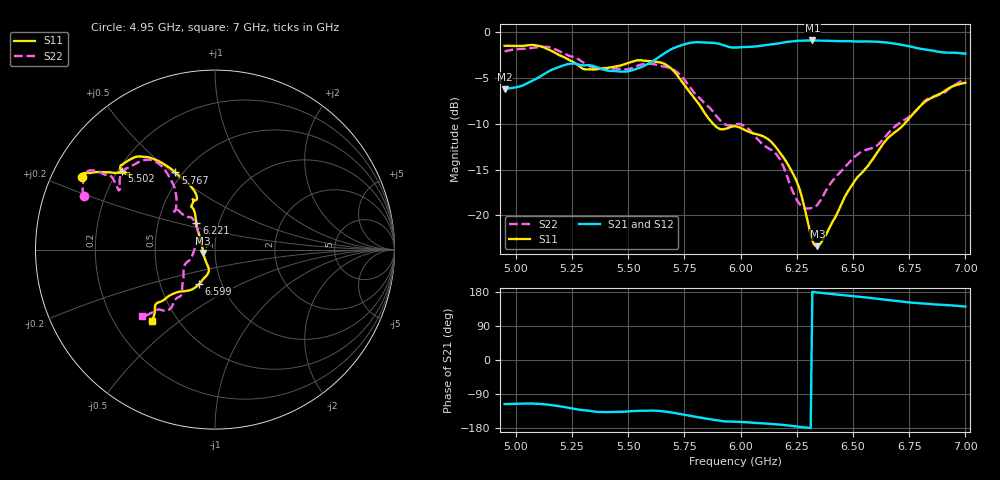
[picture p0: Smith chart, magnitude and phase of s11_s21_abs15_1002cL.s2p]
! MS46122B
! 1919307/90821646
! 5/25/2022 12:18:13 PM
! C:\USERS\PC_\DESKTOP\CARACTERIZACION\MEDICIONES\S11_S21_ABS15_1002CL.S2P
! CHANNEL.1
! TR.MEASUREMENT
! CORRECTED.DATA
# GHZ S RI R 50.0
! FREQ.GHZ  S11RE  S11IM  S21RE  S21IM  S12RE  S12IM  S22RE  S22IM
!; PortSelection: Port_12
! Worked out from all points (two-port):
!   272 points, 4.95 GHz to 7 GHz, reference 50 ohm
!   highest |S21| = -0.89 dB at 6.319 GHz (marker M1); lowest = -6.2 dB at 4.95 GHz (marker M2)
!   |S21| within 3 dB of the highest: 5.181 GHz to 5.37 GHz (188.6 MHz wide, 3.57 % of centre); 5.548 GHz to end of sweep
!   lowest |S11| = -23.4 dB at 6.342 GHz (marker M3), VSWR 1.15, Z = 43.8 - j1.63 ohm
!   |S11| at or under -10 dB: 5.878 GHz to 6.729 GHz (851.2 MHz wide, 13.5 % of centre)
!   |S22| runs from -19.2 to -1.6 dB; largest |S21 - S12| = 0.0098
!   S11 on the Smith chart (normalised r, x): 4.95 GHz: 0.09, +0.25; 5.502 GHz: 0.21, +0.35; 5.767 GHz: 0.46, +0.51; 6.221 GHz: 0.78, +0.24; 6.599 GHz: 0.78, -0.32; 7 GHz: 0.36, -0.40
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4.95  -0.7398 0.4047  -0.2155 -0.4377  -0.2166 -0.4434  -0.7283 0.2989
5.108856  -0.7229 0.4268  -0.2515 -0.5164  -0.2532 -0.5148  -0.7257 0.4044
5.21476  -0.5905 0.4313  -0.3697 -0.5492  -0.3618 -0.5434  -0.6345 0.4285
5.29797  -0.4791 0.4118  -0.4425 -0.4893  -0.4338 -0.4917  -0.5649 0.3892
5.366052  -0.4717 0.4173  -0.4688 -0.4377  -0.4638 -0.4431  -0.5373 0.3304
5.502214  -0.5207 0.4389  -0.4364 -0.4301  -0.4381 -0.4317  -0.529 0.3411
5.638376  -0.4588 0.5096  -0.5154 -0.5254  -0.5172 -0.5222  -0.4641 0.4669
5.706458  -0.338 0.5034  -0.6299 -0.5309  -0.6262 -0.5274  -0.3646 0.5006
5.766974  -0.2207 0.4301  -0.7246 -0.4832  -0.7178 -0.4833  -0.2745 0.4372
5.888007  -0.1005 0.2901  -0.8134 -0.3178  -0.8099 -0.3216  -0.2145 0.2812
5.933395  -0.1153 0.2736  -0.802 -0.2591  -0.7992 -0.2647  -0.2202 0.2224
5.978782  -0.123 0.2808  -0.7876 -0.2452  -0.7886 -0.2502  -0.2269 0.2185
6.160332  -0.1124 0.2039  -0.8521 -0.1532  -0.8515 -0.157  -0.1258 0.1741
6.220849  -0.1038 0.1466  -0.8851 -0.1026  -0.8793 -0.1057  -0.0971 0.1087
6.266236  -0.0928 0.0968  -0.8979 -0.0513  -0.8958 -0.0578  -0.0907 0.0689
6.319188  -0.0714 0.0138  -0.9024 0.00444  -0.9009 -0.0004  -0.1063 0.0279
6.341882  -0.0653 -0.0185  -0.9001 0.0289  -0.8999 0.0233  -0.1143 0.00199
6.508303  -0.0485 -0.1468  -0.8724 0.1833  -0.8718 0.1808  -0.1755 -0.1145
6.599077  -0.0886 -0.1932  -0.846 0.2724  -0.8437 0.2673  -0.1764 -0.1581
6.659594  -0.1419 -0.2266  -0.8123 0.3296  -0.8112 0.3236  -0.1827 -0.2171
6.841144  -0.3178 -0.2947  -0.6757 0.4265  -0.6771 0.4256  -0.2752 -0.3408
7  -0.3529 -0.3968  -0.594 0.4807  -0.5937 0.4781  -0.407 -0.3712
